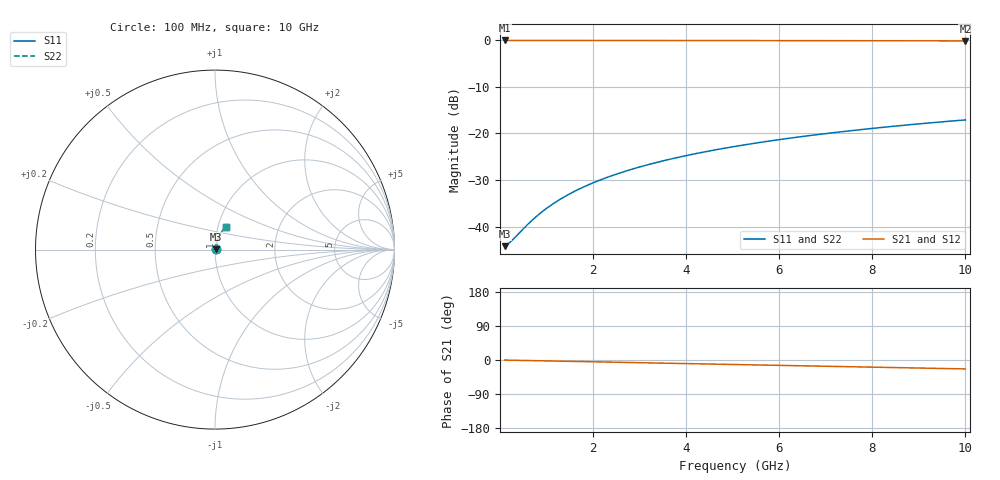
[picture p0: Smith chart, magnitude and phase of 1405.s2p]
# Hz S RI R 50.00
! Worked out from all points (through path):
!   100 points, 100 MHz to 10 GHz, reference 50 ohm
!   highest |S21| = -0.05 dB at 100 MHz (marker M1); lowest = -0.1 dB at 10 GHz (marker M2)
!   group delay of S21, straight-line fit = 6.54 ps
!   lowest |S11| = -44.2 dB at 100 MHz (marker M3), VSWR 1.01, Z = 50.6 + j0.144 ohm
!   |S11| at or under -10 dB: start of sweep to end of sweep
!   |S22| runs from -44.2 to -17.1 dB; largest |S21 - S12| = 0
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1e8  0.00603 0.00142  0.994 -0.00411  0.994 -0.00411  0.00603 0.00142
2e8  0.00609 0.00284  0.9939 -0.00821  0.9939 -0.00821  0.00609 0.00284
3e8  0.00614 0.00427  0.9938 -0.0123  0.9938 -0.0123  0.00614 0.00427
5e8  0.00628 0.00711  0.9936 -0.0205  0.9936 -0.0205  0.00628 0.00711
7e8  0.00645 0.00994  0.9934 -0.0287  0.9934 -0.0287  0.00645 0.00994
8e8  0.00656 0.0114  0.9932 -0.0328  0.9932 -0.0328  0.00656 0.0114
1e9  0.00679 0.0142  0.9928 -0.041  0.9928 -0.041  0.00679 0.0142
1.2e9  0.00707 0.017  0.9924 -0.0492  0.9924 -0.0492  0.00707 0.017
1.4e9  0.0074 0.0198  0.9919 -0.0574  0.9919 -0.0574  0.0074 0.0198
1.6e9  0.00777 0.0227  0.9913 -0.0656  0.9913 -0.0656  0.00777 0.0227
1.8e9  0.00818 0.0255  0.9906 -0.0738  0.9906 -0.0738  0.00818 0.0255
2.1e9  0.00889 0.0297  0.9895 -0.086  0.9895 -0.086  0.00889 0.0297
2.5e9  0.00999 0.0352  0.9877 -0.1023  0.9877 -0.1023  0.00999 0.0352
2.9e9  0.0113 0.0408  0.9856 -0.1186  0.9856 -0.1186  0.0113 0.0408
3.4e9  0.0131 0.0476  0.9826 -0.1388  0.9826 -0.1388  0.0131 0.0476
4.2e9  0.0167 0.0584  0.9768 -0.171  0.9768 -0.171  0.0167 0.0584
5.1e9  0.0215 0.0702  0.9689 -0.2069  0.9689 -0.2069  0.0215 0.0702
5.9e9  0.0265 0.0803  0.9607 -0.2384  0.9607 -0.2384  0.0265 0.0803
6.7e9  0.0322 0.09  0.9514 -0.2696  0.9514 -0.2696  0.0322 0.09
7.5e9  0.0384 0.0994  0.9409 -0.3003  0.9409 -0.3003  0.0384 0.0994
8.4e9  0.0462 0.1094  0.9279 -0.3342  0.9279 -0.3342  0.0462 0.1094
1e10  0.0617 0.1255  0.9016 -0.3928  0.9016 -0.3928  0.0617 0.1255
